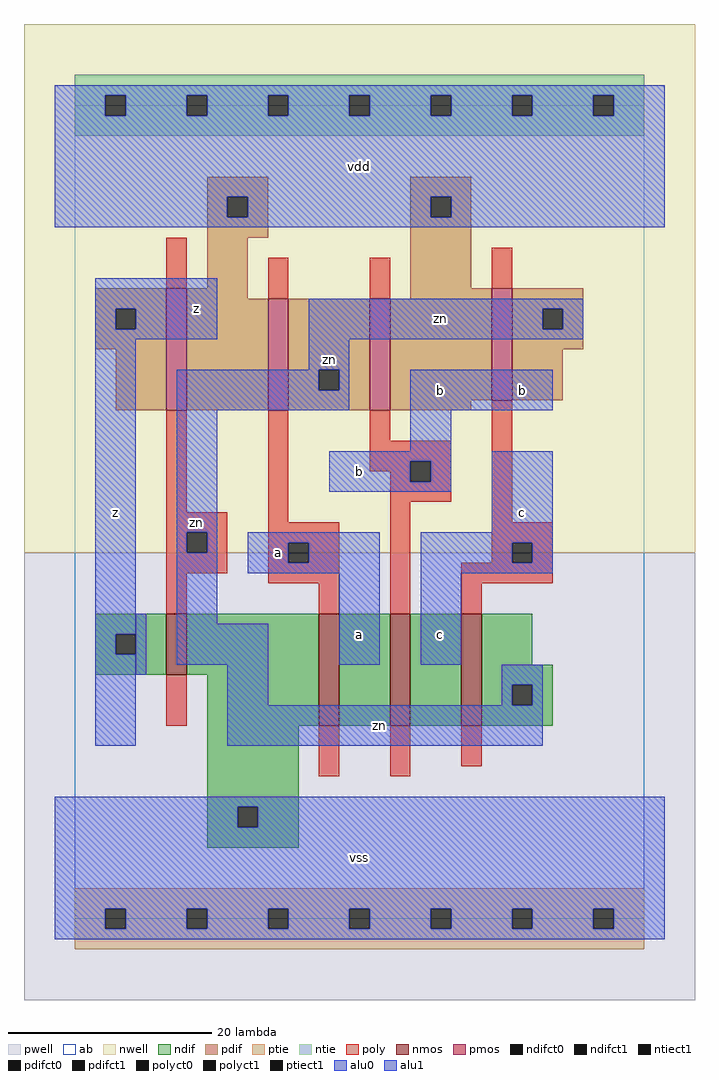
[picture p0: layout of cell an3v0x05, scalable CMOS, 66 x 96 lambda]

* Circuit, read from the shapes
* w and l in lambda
.subckt an3v0x05 a b c vdd vss z zn
M1 vss zn z vss nfet w=6 l=2
M2 n1 a vss vss nfet w=11 l=2
M3 n2 b n1 vss nfet w=11 l=2
M4 zn c n2 vss nfet w=11 l=2
M5 vdd zn z vdd pfet w=12 l=2
M6 zn a vdd vdd pfet w=11 l=2
M7 vdd b zn vdd pfet w=11 l=2
M8 zn c vdd vdd pfet w=11 l=2
.ends

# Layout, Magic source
magic
tech scmos
<< ab >>
rect 0 0 56 80
<< nwell >>
rect -5 36 61 88
<< pwell >>
rect -5 -8 61 36
<< poly >>
rect 9 62 11 67
rect 19 61 21 65
rect 29 61 31 65
rect 41 62 43 66
rect 9 40 11 50
rect 9 38 15 40
rect 9 36 11 38
rect 13 36 15 38
rect 9 34 15 36
rect 19 39 21 50
rect 29 47 31 50
rect 29 45 37 47
rect 29 44 33 45
rect 31 43 33 44
rect 35 43 37 45
rect 31 41 37 43
rect 19 37 26 39
rect 19 35 21 37
rect 23 35 26 37
rect 9 30 11 34
rect 19 33 26 35
rect 24 30 26 33
rect 31 30 33 41
rect 41 39 43 51
rect 41 37 47 39
rect 41 35 43 37
rect 45 35 47 37
rect 38 33 47 35
rect 38 30 40 33
rect 9 19 11 24
rect 24 14 26 19
rect 31 14 33 19
rect 38 15 40 19
<< ndif >>
rect 2 28 9 30
rect 2 26 4 28
rect 6 26 9 28
rect 2 24 9 26
rect 11 24 24 30
rect 13 19 24 24
rect 26 19 31 30
rect 33 19 38 30
rect 40 25 45 30
rect 40 23 47 25
rect 40 21 43 23
rect 45 21 47 23
rect 40 19 47 21
rect 13 11 22 19
rect 13 9 16 11
rect 18 9 22 11
rect 13 7 22 9
<< pdif >>
rect 13 71 19 73
rect 13 69 15 71
rect 17 69 19 71
rect 13 67 19 69
rect 33 71 39 73
rect 33 69 35 71
rect 37 69 39 71
rect 13 62 17 67
rect 2 60 9 62
rect 2 58 4 60
rect 6 58 9 60
rect 2 56 9 58
rect 4 50 9 56
rect 11 61 17 62
rect 33 62 39 69
rect 33 61 41 62
rect 11 50 19 61
rect 21 54 29 61
rect 21 52 24 54
rect 26 52 29 54
rect 21 50 29 52
rect 31 51 41 61
rect 43 60 50 62
rect 43 58 46 60
rect 48 58 50 60
rect 43 56 50 58
rect 43 51 48 56
rect 31 50 39 51
<< alu1 >>
rect -2 81 58 82
rect -2 79 3 81
rect 5 79 11 81
rect 13 79 19 81
rect 21 79 27 81
rect 29 79 35 81
rect 37 79 43 81
rect 45 79 51 81
rect 53 79 58 81
rect -2 71 58 79
rect -2 69 15 71
rect 17 69 35 71
rect 37 69 58 71
rect -2 68 58 69
rect 2 60 14 63
rect 2 58 4 60
rect 6 58 14 60
rect 2 57 14 58
rect 2 28 6 57
rect 33 50 47 54
rect 33 46 37 50
rect 25 45 37 46
rect 25 43 33 45
rect 35 43 37 45
rect 25 42 37 43
rect 41 38 47 46
rect 2 26 4 28
rect 2 17 6 26
rect 17 37 30 38
rect 17 35 21 37
rect 23 35 30 37
rect 17 34 30 35
rect 26 25 30 34
rect 34 37 47 38
rect 34 35 43 37
rect 45 35 47 37
rect 34 34 47 35
rect 34 25 38 34
rect -2 11 58 12
rect -2 9 16 11
rect 18 9 58 11
rect -2 1 58 9
rect -2 -1 3 1
rect 5 -1 11 1
rect 13 -1 19 1
rect 21 -1 27 1
rect 29 -1 35 1
rect 37 -1 43 1
rect 45 -1 51 1
rect 53 -1 58 1
rect -2 -2 58 -1
<< ptie >>
rect 0 1 56 3
rect 0 -1 3 1
rect 5 -1 11 1
rect 13 -1 19 1
rect 21 -1 27 1
rect 29 -1 35 1
rect 37 -1 43 1
rect 45 -1 51 1
rect 53 -1 56 1
rect 0 -3 56 -1
<< ntie >>
rect 0 81 56 83
rect 0 79 3 81
rect 5 79 11 81
rect 13 79 19 81
rect 21 79 27 81
rect 29 79 35 81
rect 37 79 43 81
rect 45 79 51 81
rect 53 79 56 81
rect 0 77 56 79
<< nmos >>
rect 9 24 11 30
rect 24 19 26 30
rect 31 19 33 30
rect 38 19 40 30
<< pmos >>
rect 9 50 11 62
rect 19 50 21 61
rect 29 50 31 61
rect 41 51 43 62
<< polyct0 >>
rect 11 36 13 38
<< polyct1 >>
rect 33 43 35 45
rect 21 35 23 37
rect 43 35 45 37
<< ndifct0 >>
rect 43 21 45 23
<< ndifct1 >>
rect 4 26 6 28
rect 16 9 18 11
<< ntiect1 >>
rect 3 79 5 81
rect 11 79 13 81
rect 19 79 21 81
rect 27 79 29 81
rect 35 79 37 81
rect 43 79 45 81
rect 51 79 53 81
<< ptiect1 >>
rect 3 -1 5 1
rect 11 -1 13 1
rect 19 -1 21 1
rect 27 -1 29 1
rect 35 -1 37 1
rect 43 -1 45 1
rect 51 -1 53 1
<< pdifct0 >>
rect 24 52 26 54
rect 46 58 48 60
<< pdifct1 >>
rect 15 69 17 71
rect 35 69 37 71
rect 4 58 6 60
<< alu0 >>
rect 23 60 50 61
rect 23 58 46 60
rect 48 58 50 60
rect 23 57 50 58
rect 23 54 27 57
rect 10 52 24 54
rect 26 52 27 54
rect 10 50 27 52
rect 10 38 14 50
rect 10 36 11 38
rect 13 36 14 38
rect 6 24 7 30
rect 10 29 14 36
rect 10 25 19 29
rect 15 21 19 25
rect 42 23 46 25
rect 42 21 43 23
rect 45 21 46 23
rect 15 17 46 21
<< labels >>
rlabel alu0 12 39 12 39 6 zn
rlabel alu0 25 55 25 55 6 zn
rlabel alu0 30 19 30 19 6 zn
rlabel alu0 36 59 36 59 6 zn
rlabel alu1 4 40 4 40 6 z
rlabel alu1 20 36 20 36 6 a
rlabel alu1 12 60 12 60 6 z
rlabel alu1 28 6 28 6 6 vss
rlabel alu1 28 28 28 28 6 a
rlabel alu1 36 28 36 28 6 c
rlabel alu1 28 44 28 44 6 b
rlabel alu1 36 52 36 52 6 b
rlabel alu1 28 74 28 74 6 vdd
rlabel alu1 44 40 44 40 6 c
rlabel alu1 44 52 44 52 6 b
<< end >>
